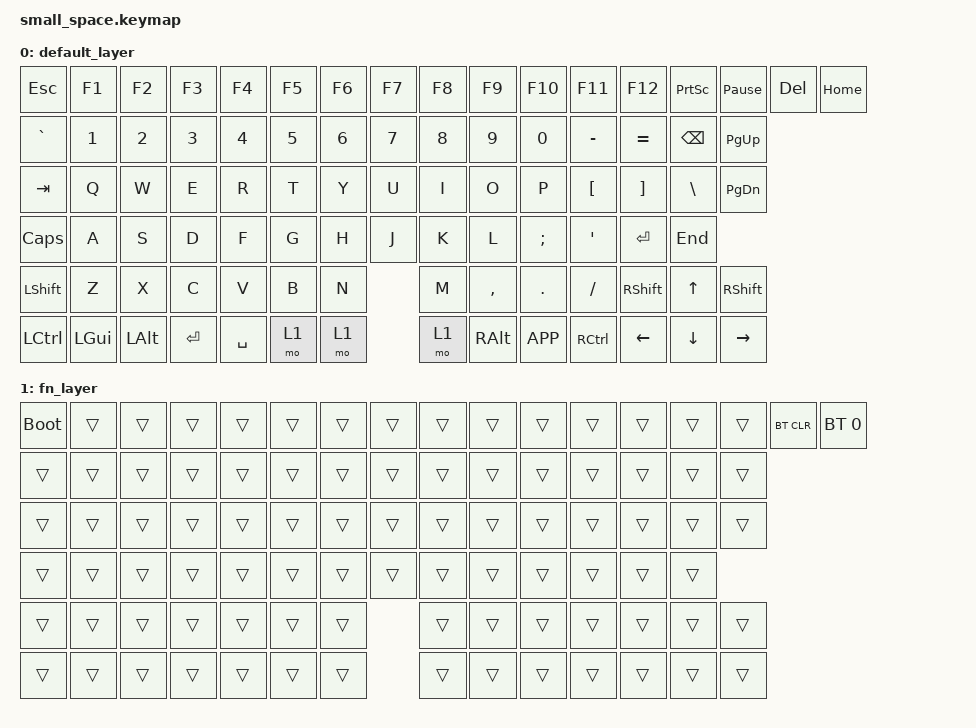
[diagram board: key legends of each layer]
#include <behaviors.dtsi>
#include <dt-bindings/zmk/keys.h>
#include <dt-bindings/zmk/bt.h>

/ {
    keymap {
        compatible = "zmk,keymap";

        default_layer {
            bindings = <
// R1: 17 keys
&kp ESC   &kp F1  &kp F2  &kp F3  &kp F4  &kp F5  &kp F6  &kp F7  &kp F8  &kp F9  &kp F10 &kp F11 &kp F12 &kp PSCRN &kp PAUSE_BREAK &kp DEL &kp HOME
// R2: 16 keys (Home 移到了第一行末尾逻辑)
&kp GRAVE &kp N1  &kp N2  &kp N3  &kp N4  &kp N5  &kp N6  &kp N7  &kp N8  &kp N9  &kp N0  &kp MINUS &kp EQUAL &kp BSPC &kp PG_UP
// R3: 16 keys
&kp TAB   &kp Q   &kp W   &kp E   &kp R   &kp T   &kp Y   &kp U   &kp I   &kp O   &kp P   &kp LBKT  &kp RBKT  &kp BSLH &kp PG_DN
// R4: 15 keys
&kp CLCK  &kp A   &kp S   &kp D   &kp F   &kp G   &kp H   &kp J   &kp K   &kp L   &kp SEMI &kp SQT   &kp ENTER &kp END
// R5: 15 keys
&kp LSHFT &kp Z   &kp X   &kp C   &kp V   &kp B   &kp N   &kp M   &kp COMMA &kp DOT &kp FSLH &kp RSHFT &kp UP &kp RSHFT
// R6: 14 keys (包含你特殊的 2u 空格和双 Fn)
&kp LCTRL &kp LGUI &kp LALT &kp ENTER &kp SPACE &mo 1 &mo 1 &mo 1 &kp RALT &kp K_APP &kp RCTRL &kp LEFT &kp DOWN &kp RIGHT
            >;
        };

        fn_layer {
            bindings = <
&bootloader &trans &trans &trans &trans &trans &trans &trans &trans &trans &trans &trans &trans &trans &trans &bt BT_CLR &bt BT_SEL 0
&trans &trans &trans &trans &trans &trans &trans &trans &trans &trans &trans &trans &trans &trans &trans
&trans &trans &trans &trans &trans &trans &trans &trans &trans &trans &trans &trans &trans &trans &trans
&trans &trans &trans &trans &trans &trans &trans &trans &trans &trans &trans &trans &trans &trans
&trans &trans &trans &trans &trans &trans &trans &trans &trans &trans &trans &trans &trans &trans
&trans &trans &trans &trans &trans &trans &trans &trans &trans &trans &trans &trans &trans &trans
            >;
        };
    };
};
